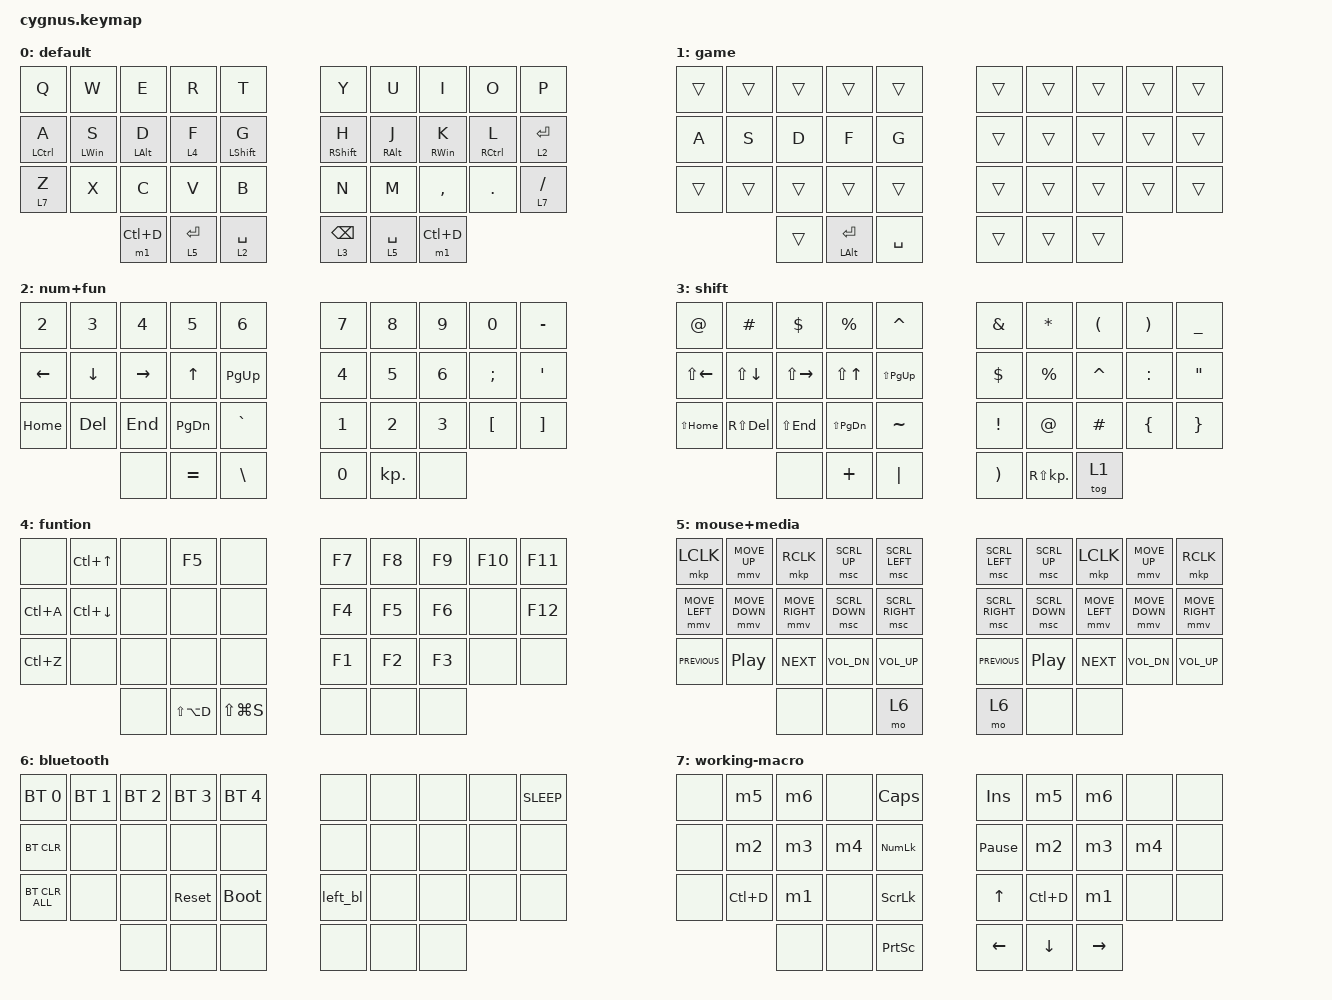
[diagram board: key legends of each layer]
/*
 * Copyright (c) 2020 The ZMK Contributors
 *
 * SPDX-License-Identifier: MIT
 */

#include <behaviors.dtsi>
#include <dt-bindings/zmk/bt.h>
#include <dt-bindings/zmk/keys.h>
#include <dt-bindings/zmk/mouse.h>

&mt {
    tapping-term-ms = <160>;
    flavor = "tap-preferred";
};

&sk {
    release-after-ms = <2000>;
    quick-release;
};

/ {
    combos {
        compatible = "zmk,combos";

        esc {
            bindings = <&kp ESC>;
            key-positions = <0 1>;
        };

        tab {
            bindings = <&kp TAB>;
            key-positions = <10 11>;
        };

        bk {
            bindings = <&kp BACKSPACE>;
            key-positions = <20 21>;
        };

        question {
            bindings = <&kp QUESTION>;
            key-positions = <26 27>;
        };
    };

    behaviors {
        gqt: global-quick-tap {
            compatible = "zmk,behavior-hold-tap";
            label = "GLOBAL_QUICK_TAP";
            bindings = <&kp>, <&kp>;

            #binding-cells = <2>;
            quick-tap-ms = <200>;
            tapping-term-ms = <250>;
            global-quick-tap;
        };

        ltq: ltq {
            compatible = "zmk,behavior-hold-tap";
            label = "LTQ";
            bindings = <&mo>, <&kp>;

            #binding-cells = <2>;
            tapping-term-ms = <160>;
            global-quick-tap;
            quick-tap-ms = <200>;
            flavor = "tap-preferred";
        };

        tap_hold_1: th1 {
            compatible = "zmk,behavior-hold-tap";
            label = "th1";
            bindings = <&m1>, <&kp>;

            #binding-cells = <2>;
            tapping-term-ms = <160>;
        };
    };

    macros {
        left_bl: lbl {
            compatible = "zmk,behavior-macro";
            #binding-cells = <0>;
            bindings = <&bootloader>;
            label = "lbl";
        };

        m1: m1 {
            compatible = "zmk,behavior-macro";
            #binding-cells = <0>;
            bindings =
                <&macro_wait_time 400>,
                <&kp LC(S) &kp A &kp N5 &kp ENTER>;

            label = "m1";
        };

        m2: m2 {
            compatible = "zmk,behavior-macro";
            #binding-cells = <0>;
            bindings = <&kp S &kp N2 &kp RET>;
            label = "M2";
        };

        m3: m3 {
            compatible = "zmk,behavior-macro";
            #binding-cells = <0>;
            bindings = <&kp E &kp N2 &kp RET>;
            label = "M3";
        };

        m4: m4 {
            compatible = "zmk,behavior-macro";
            #binding-cells = <0>;
            bindings = <&kp L &kp N2 &kp RET>;
            label = "M4";
        };

        m5: m5 {
            compatible = "zmk,behavior-macro";
            #binding-cells = <0>;
            bindings =
                <&kp Q &kp N2 &kp RET>,
                <&macro_wait_time 200>,
                <&kp S &kp D &kp SPACE &kp RET>;

            label = "M5";
        };

        m6: m6 {
            compatible = "zmk,behavior-macro";
            #binding-cells = <0>;
            bindings =
                <&kp F &kp SPACE &kp RET>,
                <&macro_wait_time 200>,
                <&kp F &kp F &kp SPACE &kp RET>;

            label = "M6";
        };
    };

       keymap {
        compatible = "zmk,keymap";

        default {
            bindings = <
&kp Q        &kp W           &kp E                &kp R        &kp T             &kp Y              &kp U            &kp I                &kp O        &kp P
&mt LCTRL A  &mt LEFT_WIN S  &mt LEFT_ALT D       &lt 4 F      &mt LEFT_SHIFT G  &mt RIGHT_SHIFT H  &mt RIGHT_ALT J  &mt RIGHT_WIN K      &mt RCTRL L  &lt 2 ENTER
&lt 7 Z      &kp X           &kp C                &kp V        &kp B             &kp N              &kp M            &kp COMMA            &kp PERIOD   &lt 7 SLASH
                             &tap_hold_1 0 LC(D)  &lt 5 ENTER  &ltq 2 SPACE      &ltq 3 BACKSPACE   &lt 5 SPACE      &tap_hold_1 0 LC(D)
            >;
        };

        game {
            bindings = <
&trans  &trans  &trans  &trans              &trans     &trans  &trans  &trans  &trans  &trans
&kp A   &kp S   &kp D   &kp F               &kp G      &trans  &trans  &trans  &trans  &trans
&trans  &trans  &trans  &trans              &trans     &trans  &trans  &trans  &trans  &trans
                &trans  &mt LEFT_ALT ENTER  &kp SPACE  &trans  &trans  &trans
            >;
        };

        num+fun {
            bindings = <
&kp N2    &kp NUMBER_3  &kp NUMBER_4  &kp N5        &kp NUMBER_6   &kp N7        &kp N8        &kp N9        &kp N0            &kp MINUS
&kp LEFT  &kp DOWN      &kp RIGHT     &kp UP_ARROW  &kp PG_UP      &kp NUMBER_4  &kp N5        &kp NUMBER_6  &kp SEMICOLON     &kp SQT
&kp HOME  &kp DEL       &kp END       &kp PG_DN     &kp GRAVE      &kp NUMBER_1  &kp NUMBER_2  &kp NUMBER_3  &kp LEFT_BRACKET  &kp RIGHT_BRACKET
                        &none         &kp EQUAL     &kp BACKSLASH  &kp N0        &kp KP_DOT    &none
            >;
        };

        shift {
            bindings = <
&kp AT_SIGN   &kp HASH        &kp DOLLAR     &kp PERCENT       &kp CARET      &kp AMPERSAND          &kp ASTERISK    &kp LEFT_PARENTHESIS  &kp RIGHT_PARENTHESIS  &kp UNDERSCORE
&kp LS(LEFT)  &kp LS(DOWN)    &kp LS(RIGHT)  &kp LS(UP_ARROW)  &kp LS(PG_UP)  &kp DOLLAR             &kp PERCENT     &kp CARET             &kp COLON              &kp DOUBLE_QUOTES
&kp LS(HOME)  &kp RS(DELETE)  &kp LS(END)    &kp LS(PG_DN)     &kp TILDE      &kp EXCLAMATION        &kp AT_SIGN     &kp POUND             &kp LEFT_BRACE         &kp RIGHT_BRACE
                              &none          &kp PLUS          &kp PIPE       &kp RIGHT_PARENTHESIS  &kp RS(KP_DOT)  &tog 1
            >;
        };

        funtion {
            bindings = <
&none      &kp LC(UP_ARROW)  &none  &kp F5         &none          &kp F7  &kp F8  &kp F9  &kp F10  &kp F11
&kp LC(A)  &kp LC(DOWN)      &none  &none          &none          &kp F4  &kp F5  &kp F6  &none    &kp F12
&kp LC(Z)  &none             &none  &none          &none          &kp F1  &kp F2  &kp F3  &none    &none
                             &none  &kp LS(LA(D))  &kp LS(LG(S))  &none   &none   &none
            >;
        };

        mouse+media {
            bindings = <
&mkp LCLK       &mmv MOVE_UP      &mkp RCLK        &msc SCRL_UP    &msc SCRL_LEFT   &msc SCRL_LEFT   &msc SCRL_UP    &mkp LCLK       &mmv MOVE_UP    &mkp RCLK
&mmv MOVE_LEFT  &mmv MOVE_DOWN    &mmv MOVE_RIGHT  &msc SCRL_DOWN  &msc SCRL_RIGHT  &msc SCRL_RIGHT  &msc SCRL_DOWN  &mmv MOVE_LEFT  &mmv MOVE_DOWN  &mmv MOVE_RIGHT
&kp C_PREVIOUS  &kp C_PLAY_PAUSE  &kp C_NEXT       &kp C_VOL_DN    &kp C_VOL_UP     &kp C_PREVIOUS   &kp C_PP        &kp C_NEXT      &kp C_VOL_DN    &kp C_VOL_UP
                                  &none            &none           &mo 6            &mo 6            &none           &none
            >;
        };

        bluetooth {
            bindings = <
&bt BT_SEL 0    &bt BT_SEL 1  &bt BT_SEL 2  &bt BT_SEL 3  &bt BT_SEL 4  &none     &none  &none  &none  &kp C_SLEEP
&bt BT_CLR      &none         &none         &none         &none         &none     &none  &none  &none  &none
&bt BT_CLR_ALL  &none         &none         &sys_reset    &bootloader   &left_bl  &none  &none  &none  &none
                              &none         &none         &none         &none     &none  &none
            >;
        };

        working-macro {
            bindings = <
&none  &m5        &m6    &none  &kp CAPSLOCK     &kp INS          &m5             &m6        &none  &none
&none  &m2        &m3    &m4    &kp KP_NUMLOCK   &kp PAUSE_BREAK  &m2             &m3        &m4    &none
&none  &kp LC(D)  &m1    &none  &kp SCROLLLOCK   &kp UP_ARROW     &kp LC(D)       &m1        &none  &none
                  &none  &none  &kp PRINTSCREEN  &kp LEFT         &kp DOWN_ARROW  &kp RIGHT
            >;
        };
    };
};
